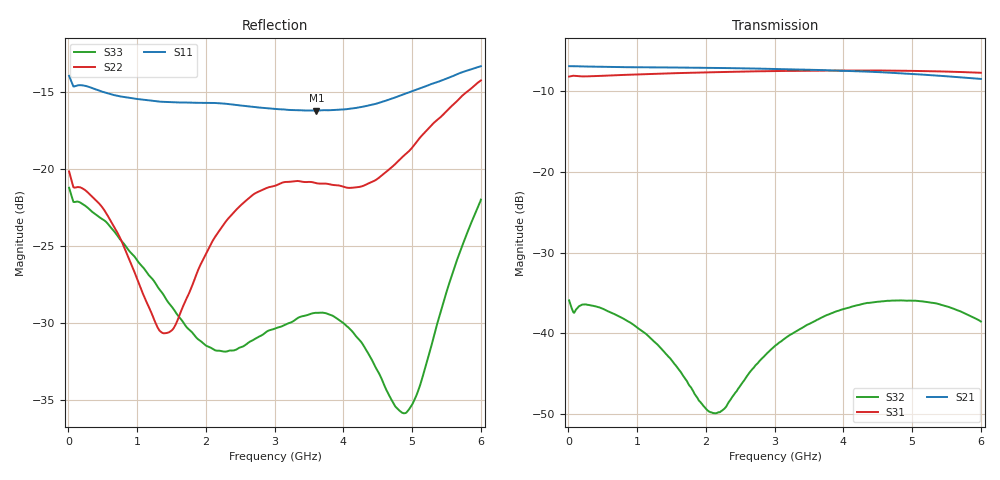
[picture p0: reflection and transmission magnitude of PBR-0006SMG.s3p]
! MARKI MICROWAVE INC.
! Email:  info@markimicrowave.com  Phone:  408-778-4200
! Model Number:  PBR0006SMG  Date:  02/14
! Filename:		PBR-0006SMG.S3P  Version: 1.0
! Description:  3-port S-parameter data for Power Divider PBR0006SMG
! Frequency Range: 	10 MHz to 6 GHz
! Port Configuration:	PORT 1: COMMON, PORT 2 and Port 3: Output
! S3P File: Measurements: Mag<S11> Ang<S11> Mag<S12> Ang<S12> Mag<S13> Ang<S13>! row 1
!  Mag<S21> Ang<S21> Mag<S22> Ang<S22> Mag<S23> Ang<S23>! row 2
!  Mag<S31> Ang<S31> Mag<S32> Ang<S32> Mag<S33> Ang<S33>! row 3
# Hz S  dB  R 50
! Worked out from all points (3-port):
!   481 points, 10 MHz to 6 GHz, reference 50 ohm
!   strongest paths, dB at 10 MHz, 1.508 GHz, 3.007 GHz, 4.505 GHz, 6 GHz:
!     S21: -6.9, -7.0, -7.2, -7.6, -8.4
!     S31: -8.2, -7.7, -7.5, -7.4, -7.7
!     S32: -35.9, -43.5, -41.6, -36.1, -38.6
!   lowest |S11| = -16.2 dB at 3.606 GHz (marker M1), VSWR 1.37, Z = 68.2 - j2.11 ohm
!   |S11| at or under -10 dB: start of sweep to end of sweep
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1e7  -13.95 167.7  -6.86 -2.4  -8.16 1.0
     -6.86 -2.6  -20.17 160.9  -36.08 -31.1
     -8.15 2.3  -35.95 -29.7  -21.22 164.6
6.84325e8  -15.22 139.7  -6.97 -58.4  -7.99 -48.6
           -6.97 -58.4  -23.92 122.1  -37.74 -77.2
           -7.98 -48.7  -37.71 -77.4  -24.16 122.9
1.2088e9  -15.56 113.5  -7.01 -102.6  -7.82 -87.0
          -7.01 -102.6  -29.37 104.3  -40.74 -137.2
          -7.82 -87.0  -40.76 -137.2  -27.09 89.9
1.520988e9  -15.67 97.8  -7.02 -129.1  -7.74 -110.0
            -7.02 -129.1  -30.41 122.2  -43.60 -176.8
            -7.74 -110.0  -43.60 -176.7  -29.05 77.2
2.120388e9  -15.71 67.1  -7.08 -180.0  -7.62 -154.4
            -7.08 -180.0  -24.51 109.5  -49.90 62.8
            -7.61 -154.5  -49.95 62.6  -31.75 64.7
3.007e9  -16.10 21.9  -7.20 104.7  -7.47 139.4
         -7.20 104.7  -21.09 31.1  -41.59 -93.1
         -7.47 139.4  -41.58 -92.9  -30.37 35.7
3.6064e9  -16.21 -5.6  -7.33 53.6  -7.42 94.5
          -7.33 53.6  -20.93 -34.3  -38.44 -155.2
          -7.42 94.4  -38.41 -155.1  -29.35 -3.9
4.25575e9  -15.98 -31.8  -7.50 -2.0  -7.39 45.4
           -7.50 -2.0  -21.15 -119.2  -36.44 140.0
           -7.39 45.4  -36.43 140.0  -31.23 -60.0
4.917588e9  -15.09 -59.0  -7.78 -58.7  -7.43 -4.8
            -7.78 -58.7  -18.99 150.3  -36.02 73.3
            -7.43 -4.9  -35.98 73.2  -35.83 -171.8
6e9  -13.32 -107.6  -8.45 -150.9  -7.68 -87.7
     -8.44 -150.9  -14.25 33.9  -38.61 -59.5
     -7.68 -87.8  -38.57 -59.4  -21.99 28.3
